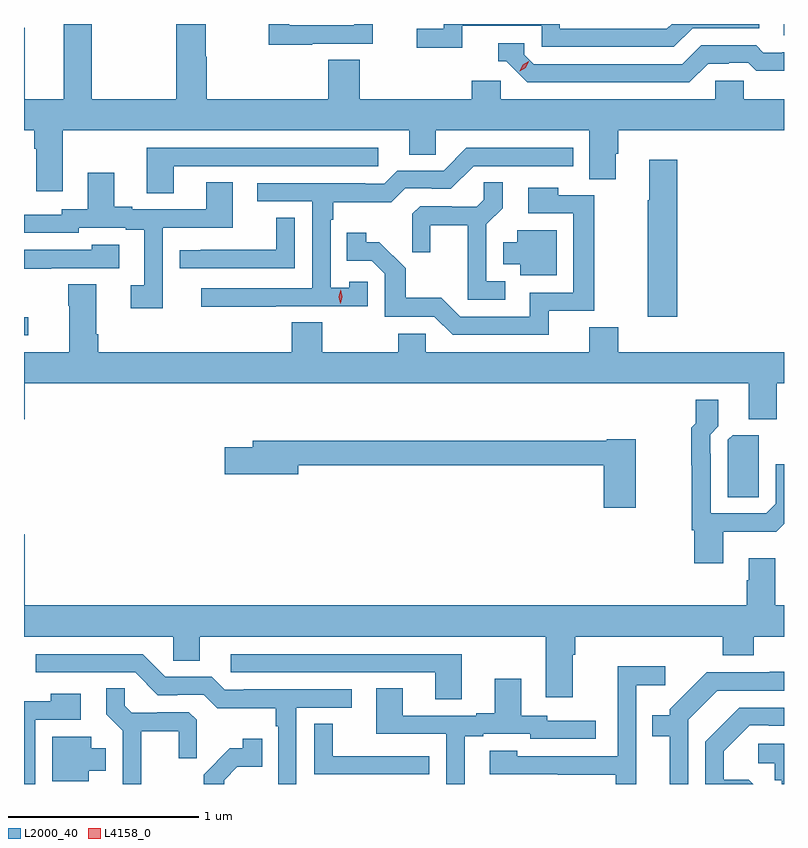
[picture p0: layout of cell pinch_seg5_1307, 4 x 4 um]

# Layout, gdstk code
import gdstk
lib = gdstk.Library(unit=1e-6, precision=1e-09)
def R(c, l, rs):  # rectangles x0, y0, x1, y1
    for r in rs: c.add(gdstk.rectangle(r[:2], r[2:], *l))
def P(c, l, *ps):  # polygons
    for p in ps: c.add(gdstk.Polygon(p, *l))
L2000_40 = (2000, 40)
L4158_0 = (4158, 0)

pinch_seg5_1307 = lib.new_cell('pinch_seg5_1307')
R(pinch_seg5_1307, L2000_40, [(309.024,896.973,309.046,897.069), (313.023,898.554,313.024,898.612)])
P(pinch_seg5_1307, L2000_40, [(310.541,898.509),(310.86,898.509),(310.86,898.612),(310.761,898.612),(310.761,898.605),(310.419,898.605),(310.419,898.612),(310.311,898.612),(310.311,898.504),(310.541,898.504)],
  [(311.33,898.602),(311.748,898.602),(311.748,898.491),(312.445,898.491),(312.544,898.59),(312.894,898.59),(312.894,898.612),(312.433,898.612),(312.408,898.587),(311.844,898.587),(311.844,898.612),(311.232,898.612),(311.232,898.588),(311.091,898.588),(311.091,898.486),(311.33,898.486)],
  [(309.229,898.052),(311.051,898.052),(311.051,897.925),(311.19,897.925),(311.19,898.052),(311.999,898.052),(311.999,897.796),(312.139,897.796),(312.139,897.93),(312.152,897.93),(312.152,898.052),(313.024,898.052),(313.024,898.216),(312.813,898.216),(312.813,898.314),(312.663,898.314),(312.663,898.216),(311.532,898.216),(311.532,898.314),(311.381,898.314),(311.381,898.216),(310.79,898.216),(310.79,898.424),(310.625,898.424),(310.625,898.216),(309.986,898.216),(309.986,898.439),(309.981,898.439),(309.981,898.612),(309.826,898.612),(309.826,898.216),(309.381,898.216),(309.381,898.612),(309.233,898.612),(309.233,898.216),(309.028,898.216),(309.028,898.591),(309.024,898.591),(309.024,898.052),(309.077,898.052),(309.077,897.956),(309.089,897.956),(309.089,897.732),(309.229,897.732)],
  [(312.625,898.404),(312.732,898.404),(312.732,898.407),(312.835,898.407),(312.877,898.365),(313.024,898.365),(313.024,898.464),(313.015,898.464),(313.015,898.461),(312.916,898.461),(312.877,898.5),(312.588,898.5),(312.489,898.401),(311.706,898.401),(311.658,898.449),(311.658,898.512),(311.519,898.512),(311.519,898.416),(311.562,898.416),(311.673,898.305),(312.526,898.305)],
  [(310.349,897.126),(310.833,897.126),(310.833,897.255),(310.737,897.255),(310.737,897.223),(310.638,897.223),(310.638,897.581),(310.651,897.581),(310.651,897.674),(310.958,897.674),(311.031,897.747),(311.17,897.747),(311.17,897.744),(311.271,897.744),(311.391,897.864),(311.914,897.864),(311.914,897.96),(311.352,897.96),(311.232,897.84),(310.989,897.84),(310.92,897.771),(310.82,897.771),(310.82,897.774),(310.251,897.774),(310.251,897.678),(310.542,897.678),(310.542,897.222),(309.957,897.222),(309.957,897.124),(310.349,897.124)],
  [(309.811,897.864),(310.888,897.864),(310.888,897.96),(309.671,897.96),(309.671,897.721),(309.811,897.721)],
  [(312.461,897.898),(312.314,897.898),(312.314,897.685),(312.307,897.685),(312.307,897.072),(312.461,897.072)],
  [(309.753,897.54),(310.123,897.54),(310.123,897.779),(309.983,897.779),(309.983,897.636),(309.595,897.636),(309.595,897.649),(309.499,897.649),(309.499,897.829),(309.359,897.829),(309.359,897.636),(309.222,897.636),(309.222,897.609),(309.024,897.609),(309.024,897.513),(309.312,897.513),(309.312,897.54),(309.56,897.54),(309.56,897.528),(309.656,897.528),(309.656,897.237),(309.585,897.237),(309.585,897.117),(309.753,897.117)],
  [(311.557,897.258),(311.457,897.258),(311.457,897.557),(311.543,897.643),(311.543,897.779),(311.445,897.779),(311.445,897.688),(311.408,897.651),(311.274,897.651),(311.274,897.654),(311.109,897.654),(311.068,897.613),(311.068,897.411),(311.162,897.411),(311.162,897.554),(311.36,897.554),(311.36,897.162),(311.557,897.162)],
  [(311.786,897.102),(312.025,897.102),(312.025,897.711),(311.835,897.711),(311.835,897.751),(311.679,897.751),(311.679,897.615),(311.916,897.615),(311.916,897.198),(311.687,897.198),(311.687,897.072),(311.319,897.072),(311.221,897.171),(311.032,897.171),(311.032,897.326),(310.894,897.464),(310.824,897.464),(310.824,897.514),(310.723,897.514),(310.723,897.366),(310.854,897.366),(310.923,897.297),(310.923,897.072),(311.184,897.072),(311.28,896.976),(311.786,896.976)],
  [(310.449,897.593),(310.351,897.593),(310.351,897.423),(309.955,897.423),(309.955,897.422),(309.843,897.422),(309.843,897.327),(310.449,897.327)],
  [(311.827,897.526),(311.621,897.526),(311.621,897.463),(311.546,897.463),(311.546,897.347),(311.636,897.347),(311.636,897.29),(311.827,897.29)],
  [(309.167,897.327),(309.526,897.327),(309.526,897.451),(309.381,897.451),(309.381,897.423),(309.024,897.423),(309.024,897.325),(309.167,897.325)],
  [(309.028,896.72),(312.839,896.72),(312.839,896.533),(312.987,896.533),(312.987,896.72),(313.024,896.72),(313.024,896.884),(312.152,896.884),(312.152,897.017),(311.999,897.017),(311.999,896.884),(311.139,896.884),(311.139,896.982),(310.993,896.982),(310.993,896.884),(310.593,896.884),(310.593,897.041),(310.433,897.041),(310.433,896.884),(309.416,896.884),(309.416,896.98),(309.403,896.98),(309.403,897.241),(309.256,897.241),(309.256,897.128),(309.263,897.128),(309.263,896.884),(309.024,896.884),(309.024,896.532),(309.028,896.532)],
  [(312.703,895.94),(312.983,895.94),(313.024,895.981),(313.024,896.296),(312.981,896.296),(312.981,896.088),(312.93,896.037),(312.639,896.037),(312.639,896.351),(312.636,896.351),(312.636,896.451),(312.679,896.494),(312.679,896.635),(312.559,896.635),(312.559,896.511),(312.536,896.487),(312.536,896.29),(312.538,896.29),(312.538,895.947),(312.551,895.947),(312.551,895.773),(312.703,895.773)],
  [(312.891,896.233),(312.892,896.233),(312.892,896.448),(312.753,896.448),(312.729,896.424),(312.729,896.122),(312.891,896.122)],
  [(312.244,896.427),(312.09,896.427),(312.09,896.419),(310.229,896.419),(310.229,896.385),(310.08,896.385),(310.08,896.243),(310.468,896.243),(310.468,896.29),(312.074,896.29),(312.074,896.067),(312.244,896.067)],
  [(311.911,895.292),(311.924,895.292),(311.924,895.388),(312.701,895.388),(312.701,895.289),(312.866,895.289),(312.866,895.388),(313.024,895.388),(313.024,895.552),(312.979,895.552),(312.979,895.801),(312.839,895.801),(312.839,895.685),(312.827,895.685),(312.827,895.552),(309.028,895.552),(309.028,895.927),(309.024,895.927),(309.024,895.388),(309.81,895.388),(309.81,895.261),(309.949,895.261),(309.949,895.388),(311.771,895.388),(311.771,895.068),(311.911,895.068)],
  [(310.458,895.014),(310.75,895.014),(310.75,895.11),(310.18,895.11),(310.18,895.107),(310.08,895.107),(310.011,895.176),(309.768,895.176),(309.648,895.296),(309.086,895.296),(309.086,895.2),(309.609,895.2),(309.729,895.08),(309.83,895.08),(309.83,895.083),(309.969,895.083),(310.042,895.01),(310.35,895.01),(310.35,894.917),(310.362,894.917),(310.362,894.612),(310.458,894.612)],
  [(311.329,895.296),(310.113,895.296),(310.113,895.2),(311.189,895.2),(311.189,895.057),(311.329,895.057)],
  [(312.246,895.133),(312.4,895.133),(312.4,895.231),(312.148,895.231),(312.148,894.992),(312.15,894.992),(312.15,894.759),(311.619,894.759),(311.619,894.787),(311.475,894.787),(311.475,894.663),(311.833,894.663),(311.833,894.661),(312.138,894.661),(312.138,894.612),(312.246,894.612)],
  [(312.519,894.951),(312.672,895.104),(313.024,895.104),(313.024,895.202),(312.949,895.202),(312.949,895.2),(312.618,895.2),(312.423,895.005),(312.423,894.973),(312.331,894.973),(312.331,894.864),(312.422,894.864),(312.422,894.612),(312.519,894.612)],
  [(311.344,894.864),(311.44,894.864),(311.44,894.876),(311.688,894.876),(311.688,894.849),(312.034,894.849),(312.034,894.945),(311.778,894.945),(311.778,894.972),(311.641,894.972),(311.641,895.165),(311.501,895.165),(311.501,894.985),(311.405,894.985),(311.405,894.972),(311.017,894.972),(311.017,895.115),(310.877,895.115),(310.877,894.876),(311.247,894.876),(311.247,894.612),(311.344,894.612)],
  [(309.641,894.89),(309.838,894.89),(309.838,894.747),(309.932,894.747),(309.932,894.949),(309.891,894.99),(309.726,894.99),(309.726,894.987),(309.592,894.987),(309.555,895.024),(309.555,895.115),(309.457,895.115),(309.457,894.979),(309.543,894.893),(309.543,894.612),(309.641,894.612)],
  [(309.084,894.951),(309.322,894.951),(309.322,895.087),(309.166,895.087),(309.166,895.047),(309.024,895.047),(309.024,894.612),(309.084,894.612)],
  [(312.839,894.634),(312.706,894.634),(312.706,894.784),(312.843,894.921),(312.943,894.921),(312.943,894.918),(313.024,894.918),(313.024,895.014),(312.788,895.014),(312.609,894.835),(312.609,894.612),(312.861,894.612)],
  [(311.158,894.758),(311.045,894.758),(311.045,894.759),(310.65,894.759),(310.65,894.929),(310.551,894.929),(310.551,894.663),(311.158,894.663)],
  [(309.364,894.683),(309.454,894.683),(309.454,894.799),(309.379,894.799),(309.379,894.862),(309.173,894.862),(309.173,894.626),(309.364,894.626)],
  [(310.077,894.633),(310.146,894.702),(310.277,894.702),(310.277,894.85),(310.176,894.85),(310.176,894.8),(310.106,894.8),(309.969,894.662),(309.969,894.612),(310.077,894.612)],
  [(313.024,894.825),(312.888,894.825),(312.888,894.722),(312.975,894.722),(312.975,894.633),(313.011,894.633),(313.011,894.612),(313.024,894.612)])
P(pinch_seg5_1307, L4158_0, [(311.634,898.364),(311.634,898.364),(311.65,898.397),(311.681,898.416),(311.681,898.416),(311.681,898.416),(311.665,898.383),(311.634,898.364)],
  [(310.689,897.141),(310.689,897.141),(310.68,897.177),(310.691,897.213),(310.691,897.214),(310.691,897.213),(310.7,897.177),(310.69,897.141)])

lib.write_gds('pinch_seg5_1307.gds')
